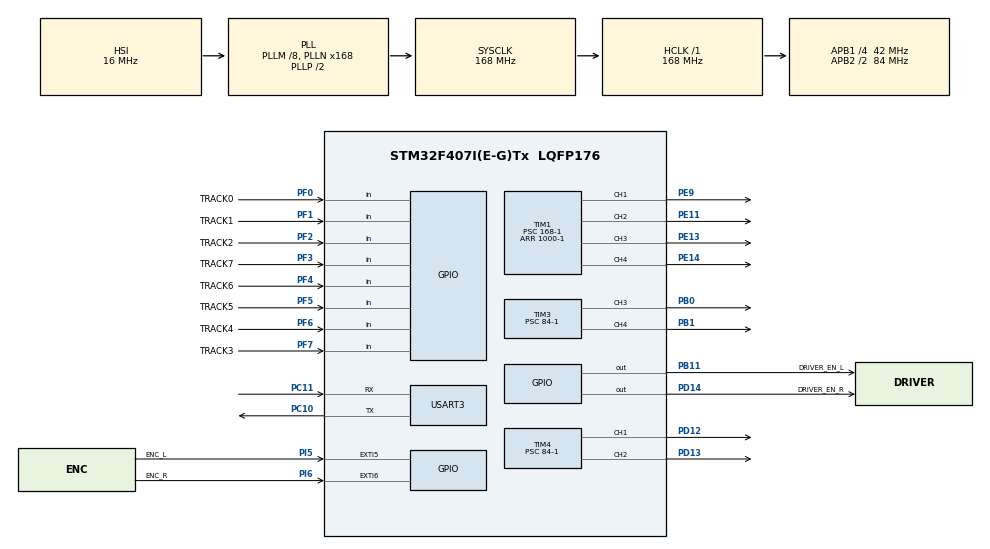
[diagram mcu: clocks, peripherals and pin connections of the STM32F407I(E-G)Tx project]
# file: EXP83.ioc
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Mcu.Family=STM32F4
Mcu.Name=STM32F407I(E-G)Tx
Mcu.Package=LQFP176
NVIC.EXTI9_5_IRQn=true\:1\:0\:true\:false\:true\:true\:true\:true
NVIC.PriorityGroup=NVIC_PRIORITYGROUP_4
NVIC.TIM1_UP_TIM10_IRQn=true\:2\:0\:true\:false\:true\:true\:true\:true
NVIC.USART3_IRQn=true\:0\:0\:false\:false\:true\:true\:true\:true
PA13.Mode=Serial_Wire
PA13.Signal=SYS_JTMS-SWDIO
PA14.Mode=Serial_Wire
PA14.Signal=SYS_JTCK-SWCLK
PB0.Signal=S_TIM3_CH3
PB1.Signal=S_TIM3_CH4
PB11.GPIO_Label=DRIVER_EN_L
PB11.GPIO_PuPd=GPIO_NOPULL
PB11.Signal=GPIO_Output
PC10.Mode=Asynchronous
PC10.Signal=USART3_TX
PC11.Mode=Asynchronous
PC11.Signal=USART3_RX
PD12.Signal=S_TIM4_CH1
PD13.Signal=S_TIM4_CH2
PD14.GPIO_Label=DRIVER_EN_R
PD14.Signal=GPIO_Output
PE11.Signal=S_TIM1_CH2
PE13.Signal=S_TIM1_CH3
PE14.Signal=S_TIM1_CH4
PE9.Signal=S_TIM1_CH1
PF0.GPIO_Label=TRACK0
PF0.GPIO_PuPd=GPIO_PULLUP
PF0.Signal=GPIO_Input
PF1.GPIO_Label=TRACK1
PF1.GPIO_PuPd=GPIO_PULLUP
PF1.Signal=GPIO_Input
PF2.GPIO_Label=TRACK2
PF2.GPIO_PuPd=GPIO_PULLUP
PF2.Signal=GPIO_Input
PF3.GPIO_Label=TRACK7
PF3.GPIO_PuPd=GPIO_PULLUP
PF3.Signal=GPIO_Input
PF4.GPIO_Label=TRACK6
PF4.GPIO_PuPd=GPIO_PULLUP
PF4.Signal=GPIO_Input
PF5.GPIO_Label=TRACK5
PF5.GPIO_PuPd=GPIO_PULLUP
PF5.Signal=GPIO_Input
PF6.GPIO_Label=TRACK4
PF6.GPIO_PuPd=GPIO_PULLUP
PF6.Signal=GPIO_Input
PF7.GPIO_Label=TRACK3
PF7.GPIO_PuPd=GPIO_PULLUP
PF7.Signal=GPIO_Input
PH0-OSC_IN.Mode=HSE-External-Oscillator
PH0-OSC_IN.Signal=RCC_OSC_IN
PH1-OSC_OUT.Mode=HSE-External-Oscillator
PH1-OSC_OUT.Signal=RCC_OSC_OUT
PI5.GPIO_Label=ENC_L
PI5.GPIO_PuPd=GPIO_PULLUP
PI5.Signal=GPXTI5
PI6.GPIO_Label=ENC_R
PI6.GPIO_PuPd=GPIO_PULLUP
PI6.Signal=GPXTI6
ProjectManager.HeapSize=0x200
ProjectManager.StackSize=0x400
ProjectManager.TargetToolchain=CMake
RCC.48MHZClocksFreq_Value=84000000
RCC.AHBFreq_Value=168000000
RCC.APB1CLKDivider=RCC_HCLK_DIV4
RCC.APB1Freq_Value=42000000
RCC.APB1TimFreq_Value=84000000
RCC.APB2CLKDivider=RCC_HCLK_DIV2
RCC.APB2Freq_Value=84000000
RCC.APB2TimFreq_Value=168000000
RCC.CortexFreq_Value=168000000
RCC.HCLKFreq_Value=168000000
RCC.HSE_VALUE=25000000
RCC.HSI_VALUE=16000000
RCC.LSE_VALUE=32768
RCC.PLLM=8
RCC.PLLN=168
RCC.SYSCLKFreq_VALUE=168000000
RCC.SYSCLKSource=RCC_SYSCLKSOURCE_PLLCLK
RCC.VCOOutputFreq_Value=336000000
SH.S_TIM1_CH1.0=TIM1_CH1,PWM Generation1 CH1
SH.S_TIM1_CH2.0=TIM1_CH2,PWM Generation2 CH2
SH.S_TIM1_CH3.0=TIM1_CH3,PWM Generation3 CH3
SH.S_TIM1_CH4.0=TIM1_CH4,PWM Generation4 CH4
SH.S_TIM3_CH3.0=TIM3_CH3,PWM Generation3 CH3
SH.S_TIM3_CH4.0=TIM3_CH4,PWM Generation4 CH4
SH.S_TIM4_CH1.0=TIM4_CH1,PWM Generation1 CH1
SH.S_TIM4_CH2.0=TIM4_CH2,PWM Generation2 CH2
TIM1.Channel-PWM\ Generation1\ CH1=TIM_CHANNEL_1
TIM1.Channel-PWM\ Generation2\ CH2=TIM_CHANNEL_2
TIM1.Channel-PWM\ Generation3\ CH3=TIM_CHANNEL_3
TIM1.Channel-PWM\ Generation4\ CH4=TIM_CHANNEL_4
TIM1.Period=1000-1
TIM1.Prescaler=168-1
TIM1.Pulse-PWM\ Generation1\ CH1=0
TIM10.Period=1000-1
TIM10.Prescaler=168-1
TIM3.Channel-PWM\ Generation3\ CH3=TIM_CHANNEL_3
TIM3.Channel-PWM\ Generation4\ CH4=TIM_CHANNEL_4
TIM3.Period=1000-1
TIM3.Prescaler=84-1
TIM4.Channel-PWM\ Generation1\ CH1=TIM_CHANNEL_1
TIM4.Channel-PWM\ Generation2\ CH2=TIM_CHANNEL_2
TIM4.Period=1000-1
TIM4.Prescaler=84-1
USART3.VirtualMode=VM_ASYNC
VP_TIM10_VS_ClockSourceINT.Mode=Enable_Timer
VP_TIM1_VS_ClockSourceINT.Mode=Internal
VP_TIM3_VS_ClockSourceINT.Mode=Internal
VP_TIM4_VS_ClockSourceINT.Mode=Internal
board=custom

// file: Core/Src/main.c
/* USER CODE BEGIN Header */
/**
  ******************************************************************************
  * @file           : main.c
  * @brief          : Main program body
  ******************************************************************************
  * @attention
  *
  * Copyright (c) 2025 STMicroelectronics.
  * All rights reserved.
  *
  * This software is licensed under terms that can be found in the LICENSE file
  * in the root directory of this software component.
  * If no LICENSE file comes with this software, it is provided AS-IS.
  *
  ******************************************************************************
  */
/* USER CODE END Header */
#include "main.h"
#include "tim.h"
#include "usart.h"
#include "gpio.h"

/* USER CODE BEGIN Includes */
#include "motor.h"
#include "stdio.h"
#include <math.h>
#include <string.h>
#include "encoder.h"
#include "tracking.h"

#include "pid.h"

/* USER CODE END Includes */

/* USER CODE BEGIN PV */

#include <stdio.h> // 引入标准库用于sprintf
#include <stdlib.h> // 引入标准库用于atoi
#include <string.h> // 引入标准库用于memset

#define RX_BUFFER_SIZE 32 // 定义最大接收长度，例如 "F10000#"

uint8_t aRxBuffer;            // 每次接收1个字节的临时变量
uint8_t RxBuffer[RX_BUFFER_SIZE]; // 存放完整指令的缓冲区
uint8_t RxIndex = 0;          // 缓冲区索引
uint8_t CmdReceived_Flag = 0; // 命令接收完成标志位

// 记录当前的频率和占空比（用于查询时回复）
uint32_t Current_Freq = 1000; // 默认1kHz
uint8_t Current_Duty = 50;    // 默认50%

/* USER CODE END PV */

void SystemClock_Config(void);
/* USER CODE BEGIN PFP */
/* 定义全局句柄，确保它是对应 TIM1 的 */
extern TIM_HandleTypeDef htim1;

/**
 * @brief  设置PWM频率和占空比
 * @param  freq_hz: 目标频率 (单位: Hz)，例如 5000 代表 5kHz
 * @param  duty:    目标占空比 (0-100)，例如 50 代表 50%
 * @note   基于 168MHz 主频计算，会将 PSC 强制设为 0 以保证分辨率
 */

/* USER CODE END PFP */

/* USER CODE BEGIN 0 */
void UART_SendString(char *str)
{
    HAL_UART_Transmit(&huart3, (uint8_t *)str, strlen(str), 100);
}

// 2. 核心：修改PWM频率和占空比的函数（已修正）
void Set_PWM_Param(uint32_t freq, uint8_t duty)
{
    // 防止非法输入
    if (freq == 0) freq = 1;
    if (duty > 100) duty = 100;

    // ---------------------------------------------------------
    // 关键修正：为了防止溢出，我们强制将定时器分频到 1MHz 计数频率
    // PSC = 167 (即 168MHz / 168 = 1MHz)
    // ---------------------------------------------------------
    __HAL_TIM_SET_PRESCALER(&htim1, 167);

    // 计算 ARR (自动重装载值)
    // 1MHz 时钟下，ARR = 1,000,000 / Freq - 1
    uint32_t arr_value = (1000000 / freq) - 1;

    // 计算 CCR (比较值)
    uint32_t ccr_value = (arr_value + 1) * duty / 100;

    // 写入寄存器
    __HAL_TIM_SET_AUTORELOAD(&htim1, arr_value);
    __HAL_TIM_SET_COMPARE(&htim1, TIM_CHANNEL_1, ccr_value);

    // 更新全局变量记录
    Current_Freq = freq;
    Current_Duty = duty;
}

// 3. 串口中断回调函数
void HAL_UART_RxCpltCallback(UART_HandleTypeDef *huart)
{
    if (huart->Instance == USART3)
    {
        if (CmdReceived_Flag == 0)
        {
            if (aRxBuffer == '#')
            {
                RxBuffer[RxIndex] = '\0'; // 封口
                CmdReceived_Flag = 1;     // 通知主循环
            }
            else
            {
                RxBuffer[RxIndex++] = aRxBuffer;
                // 防溢出：如果满了还没收到#，就清空重来
                if (RxIndex >= RX_BUFFER_SIZE)
                {
                    RxIndex = 0;
                    memset(RxBuffer, 0, RX_BUFFER_SIZE);
                }
            }
        }
        HAL_UART_Receive_IT(&huart3, &aRxBuffer, 1);
    }
}

// 4. 命令处理函数

void Process_Command(void)
{
    char tx_buffer[64];
    char *pCmd = NULL;

    // --- 指令1：M (Motor) 设置全车速度 ---
    // 格式：M500# (前进), M-300# (后退)
    if ( (pCmd = strchr((char*)RxBuffer, 'M')) != NULL || (pCmd = strchr((char*)RxBuffer, 'm')) != NULL )
    {
        int16_t target_speed = atoi(pCmd + 1); // 读取后面的数字（支持负数）

        // 设置所有电机
        Motor_SetSpeed(MOTOR_LF, target_speed);
        Motor_SetSpeed(MOTOR_LR, target_speed);
        Motor_SetSpeed(MOTOR_RF, target_speed);
        Motor_SetSpeed(MOTOR_RR, target_speed);

        sprintf(tx_buffer, "CMD: All Motors Set to %d\r\n", target_speed);
    }
    // --- 指令2：S (Stop) 停车 ---
    // 格式：S#
    else if ( (strchr((char*)RxBuffer, 'S')) != NULL || (strchr((char*)RxBuffer, 's')) != NULL )
    {
        Motor_Stop();
        sprintf(tx_buffer, "CMD: Emergency Stop!\r\n");
    }
    // --- 指令3：? 查询状态 ---
    else if ( strchr((char*)RxBuffer, '?') != NULL )
    {
        // 这里的 Car_Speed_L/R 是在 encoder.c 里计算的全局变量
        sprintf(tx_buffer, "Status: L=%.1f cm/s, R=%.1f cm/s\r\n", Car_Speed_L, Car_Speed_R);
    }
    else
    {
        sprintf(tx_buffer, "Err: Unknown Cmd\r\n");
    }

    UART_SendString(tx_buffer);

    // 清空缓冲区
    memset(RxBuffer, 0, RX_BUFFER_SIZE);
    RxIndex = 0;
}

/**
 * @brief 应用层：寻迹任务启动函数
 * @note  这个函数一旦调用，就不会返回（内部有死循环）
 */
void App_Trace_Start(void)
{
    // 1. 发送提示信息
    // UART_SendString("=== System Init OK ===\r\n");
    // UART_SendString("Trace Mode will start in 2 seconds...\r\n");

    // 2. 安全倒计时 (给手拿开的时间)
    // 如果你有LED，可以在这里闪烁 LED
    HAL_Delay(1000);
    //UART_SendString("Ready... 1\r\n");
   // HAL_Delay(1000);
   // UART_SendString("GO!\r\n");

    // 3. (可选) 如果你想在这里临时修改参数，
    // 由于 tracking.c 用的是宏定义，不能动态改。
    // 如果以后想动态改，需要把 tracking.c 里的宏改成全局变量。
    // 目前我们直接使用 tracking.h 里的默认参数。

    // 4. 进入死循环执行循迹
    while (1)
    {
        // 调用底层的核心循迹算法
        Tracking_Handler();

        // 控制循环频率
        // 10ms 大约是 100Hz，对于循迹小车足够了
        // 如果太快，电机反应不过来；如果太慢，过弯会冲出跑道
        HAL_Delay(10);
    }
}
/* USER CODE END 0 */

int main(void)
{

  /* MCU Configuration--------------------------------------------------------*/

  /* Reset of all peripherals, Initializes the Flash interface and the Systick. */

  HAL_Init();

  /* Configure the system clock */
  SystemClock_Config();

  /* Initialize all configured peripherals */
  MX_GPIO_Init();
  MX_USART3_UART_Init();
  MX_TIM1_Init();
  MX_TIM3_Init();
  MX_TIM4_Init();
  MX_TIM10_Init();
  /* USER CODE BEGIN 2 */
  Motor_Init();
  Encoder_Init();

  PID_Init(&PID_L);
  PID_Init(&PID_R);

  // HAL_UART_Receive_IT(&huart3, &aRxBuffer, 1);
  // UART_SendString("=== Auto Start Mode ===\r\n");
  App_Trace_Start();
   //int16_t default_speed = 300;

   //Motor_SetSpeed(MOTOR_LF, default_speed);
   //Motor_SetSpeed(MOTOR_LR, default_speed);
   //Motor_SetSpeed(MOTOR_RF, default_speed);
  // Motor_SetSpeed(MOTOR_RR, default_speed);

  // 4. 停车
 // Motor_Stop();
// HAL_TIM_PWM_Start(&htim1, TIM_CHANNEL_1);
// Set_PWM_Param(500, 30);
// HAL_UART_Receive_IT(&huart3, &aRxBuffer, 1);
//HAL_UART_Transmit_IT(&huart3, (uint8_t *)"PWM Controller Ready\r\n", 22);
  /* USER CODE END 2 */

  /* Infinite loop */
  while (1)
  {

    /* USER CODE BEGIN 3 */
    // if (CmdReceived_Flag) // 如果收到了完整指令
    // {
    //     Process_Command(); // 并在内部处理PWM
    //     CmdReceived_Flag = 0;
    // }

  }
  /* USER CODE END 3 */
}

void SystemClock_Config(void)
{
  RCC_OscInitTypeDef RCC_OscInitStruct = {0};
  RCC_ClkInitTypeDef RCC_ClkInitStruct = {0};

  /** Configure the main internal regulator output voltage
  */
  __HAL_RCC_PWR_CLK_ENABLE();
  __HAL_PWR_VOLTAGESCALING_CONFIG(PWR_REGULATOR_VOLTAGE_SCALE1);

  /** Initializes the RCC Oscillators according to the specified parameters
  * in the RCC_OscInitTypeDef structure.
  */
  RCC_OscInitStruct.OscillatorType = RCC_OSCILLATORTYPE_HSI;
  RCC_OscInitStruct.HSIState = RCC_HSI_ON;
  RCC_OscInitStruct.HSICalibrationValue = RCC_HSICALIBRATION_DEFAULT;
  RCC_OscInitStruct.PLL.PLLState = RCC_PLL_ON;
  RCC_OscInitStruct.PLL.PLLSource = RCC_PLLSOURCE_HSI;
  RCC_OscInitStruct.PLL.PLLM = 8;
  RCC_OscInitStruct.PLL.PLLN = 168;
  RCC_OscInitStruct.PLL.PLLP = RCC_PLLP_DIV2;
  RCC_OscInitStruct.PLL.PLLQ = 4;
  if (HAL_RCC_OscConfig(&RCC_OscInitStruct) != HAL_OK)
  {
    Error_Handler();
  }

  /** Initializes the CPU, AHB and APB buses clocks
  */
  RCC_ClkInitStruct.ClockType = RCC_CLOCKTYPE_HCLK|RCC_CLOCKTYPE_SYSCLK
                              |RCC_CLOCKTYPE_PCLK1|RCC_CLOCKTYPE_PCLK2;
  RCC_ClkInitStruct.SYSCLKSource = RCC_SYSCLKSOURCE_PLLCLK;
  RCC_ClkInitStruct.AHBCLKDivider = RCC_SYSCLK_DIV1;
  RCC_ClkInitStruct.APB1CLKDivider = RCC_HCLK_DIV4;
  RCC_ClkInitStruct.APB2CLKDivider = RCC_HCLK_DIV2;

  if (HAL_RCC_ClockConfig(&RCC_ClkInitStruct, FLASH_LATENCY_5) != HAL_OK)
  {
    Error_Handler();
  }
}

/* USER CODE BEGIN 4 */
// 串口接收中断回调函数

/* USER CODE END 4 */

void Error_Handler(void)
{
  __disable_irq();
  while (1)
  {
  }
}
